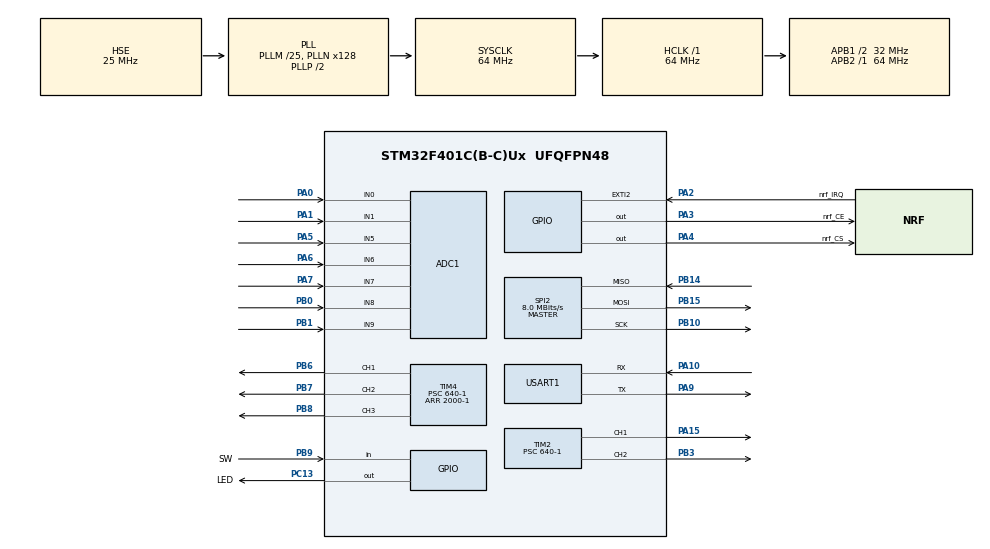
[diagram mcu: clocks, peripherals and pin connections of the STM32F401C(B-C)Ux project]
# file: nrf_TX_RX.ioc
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ADC1.Channel-2\#ChannelRegularConversion=ADC_CHANNEL_1
ADC1.Channel-3\#ChannelRegularConversion=ADC_CHANNEL_5
ADC1.Channel-4\#ChannelRegularConversion=ADC_CHANNEL_6
ADC1.Channel-5\#ChannelRegularConversion=ADC_CHANNEL_7
ADC1.Channel-6\#ChannelRegularConversion=ADC_CHANNEL_8
ADC1.Channel-7\#ChannelRegularConversion=ADC_CHANNEL_0
ADC1.Channel-8\#ChannelRegularConversion=ADC_CHANNEL_9
ADC1.ClockPrescaler=ADC_CLOCK_SYNC_PCLK_DIV8
ADC1.ContinuousConvMode=ENABLE
ADC1.DMAContinuousRequests=DISABLE
ADC1.EnableAnalogWatchDog=false
ADC1.InjNumberOfConversion=0
ADC1.NbrOfConversion=7
ADC1.NbrOfConversionFlag=1
ADC1.Rank-2\#ChannelRegularConversion=1
ADC1.Rank-3\#ChannelRegularConversion=2
ADC1.Rank-4\#ChannelRegularConversion=3
ADC1.Rank-5\#ChannelRegularConversion=4
ADC1.Rank-6\#ChannelRegularConversion=5
ADC1.Rank-7\#ChannelRegularConversion=6
ADC1.Rank-8\#ChannelRegularConversion=7
ADC1.SamplingTime-2\#ChannelRegularConversion=ADC_SAMPLETIME_15CYCLES
ADC1.SamplingTime-3\#ChannelRegularConversion=ADC_SAMPLETIME_15CYCLES
ADC1.SamplingTime-4\#ChannelRegularConversion=ADC_SAMPLETIME_15CYCLES
ADC1.SamplingTime-5\#ChannelRegularConversion=ADC_SAMPLETIME_15CYCLES
ADC1.SamplingTime-6\#ChannelRegularConversion=ADC_SAMPLETIME_15CYCLES
ADC1.SamplingTime-7\#ChannelRegularConversion=ADC_SAMPLETIME_15CYCLES
ADC1.SamplingTime-8\#ChannelRegularConversion=ADC_SAMPLETIME_15CYCLES
ADC1.ScanConvMode=ENABLE
ADC1.master=1
FREERTOS.BinarySemaphores01=semFromNrfIRQ_Pin,Dynamic,NULL
FREERTOS.Queues01=RQueue,5,uint16_t,0,Dynamic,NULL,NULL;DATAQueue,1,DATA,0,Dynamic,NULL,NULL
FREERTOS.Tasks01=defaultTask,24,128,StartDefaultTask,Default,NULL,Dynamic,NULL,NULL;tx_task,24,256,Start_tx_task,Default,NULL,Dynamic,NULL,NULL;rx_Task,24,128,Start_rx_Task,Default,NULL,Dynamic,NULL,NULL
FREERTOS.configUSE_NEWLIB_REENTRANT=1
Mcu.Family=STM32F4
Mcu.Name=STM32F401C(B-C)Ux
Mcu.Package=UFQFPN48
NVIC.ADC_IRQn=true\:5\:0\:false\:false\:true\:true\:true\:true\:true
NVIC.EXTI2_IRQn=true\:5\:0\:true\:false\:true\:false\:true\:true\:true
NVIC.PriorityGroup=NVIC_PRIORITYGROUP_4
NVIC.TIM1_UP_TIM10_IRQn=true\:15\:0\:false\:false\:true\:false\:false\:true\:true
NVIC.TimeBase=TIM1_UP_TIM10_IRQn
NVIC.TimeBaseIP=TIM10
PA0-WKUP.Signal=ADCx_IN0
PA1.Signal=ADCx_IN1
PA10.Mode=Asynchronous
PA10.Signal=USART1_RX
PA13.Mode=Serial_Wire
PA13.Signal=SYS_JTMS-SWDIO
PA14.Mode=Serial_Wire
PA14.Signal=SYS_JTCK-SWCLK
PA15.Signal=S_TIM2_CH1_ETR
PA2.GPIO_Label=nrf_IRQ
PA2.Signal=GPXTI2
PA3.GPIO_Label=nrf_CE
PA3.Signal=GPIO_Output
PA4.GPIO_Label=nrf_CS
PA4.GPIO_Speed=GPIO_SPEED_FREQ_LOW
PA4.Signal=GPIO_Output
PA5.Signal=ADCx_IN5
PA6.Signal=ADCx_IN6
PA7.Signal=ADCx_IN7
PA9.Mode=Asynchronous
PA9.Signal=USART1_TX
PB0.Signal=ADCx_IN8
PB1.Signal=ADCx_IN9
PB10.Mode=Full_Duplex_Master
PB10.Signal=SPI2_SCK
PB14.Mode=Full_Duplex_Master
PB14.Signal=SPI2_MISO
PB15.Mode=Full_Duplex_Master
PB15.Signal=SPI2_MOSI
PB3.Signal=S_TIM2_CH2
PB6.Signal=S_TIM4_CH1
PB7.Signal=S_TIM4_CH2
PB8.Signal=S_TIM4_CH3
PB9.GPIO_Label=SW
PB9.Signal=GPIO_Input
PC13-ANTI_TAMP.GPIO_Label=LED
PC13-ANTI_TAMP.Signal=GPIO_Output
PC14-OSC32_IN.Mode=LSE-External-Oscillator
PC14-OSC32_IN.Signal=RCC_OSC32_IN
PC15-OSC32_OUT.Mode=LSE-External-Oscillator
PC15-OSC32_OUT.Signal=RCC_OSC32_OUT
PH0\ -\ OSC_IN.Mode=HSE-External-Oscillator
PH0\ -\ OSC_IN.Signal=RCC_OSC_IN
PH1\ -\ OSC_OUT.Mode=HSE-External-Oscillator
PH1\ -\ OSC_OUT.Signal=RCC_OSC_OUT
ProjectManager.HeapSize=0x200
ProjectManager.StackSize=0x400
ProjectManager.TargetToolchain=STM32CubeIDE
RCC.48MHZClocksFreq_Value=32000000
RCC.AHBFreq_Value=64000000
RCC.APB1CLKDivider=RCC_HCLK_DIV2
RCC.APB1Freq_Value=32000000
RCC.APB1TimFreq_Value=64000000
RCC.APB2Freq_Value=64000000
RCC.APB2TimFreq_Value=64000000
RCC.CortexFreq_Value=64000000
RCC.HCLKFreq_Value=64000000
RCC.HSE_VALUE=25000000
RCC.HSI_VALUE=16000000
RCC.PLLM=25
RCC.PLLN=128
RCC.PLLSourceVirtual=RCC_PLLSOURCE_HSE
RCC.SYSCLKFreq_VALUE=64000000
RCC.SYSCLKSource=RCC_SYSCLKSOURCE_PLLCLK
RCC.VCOOutputFreq_Value=128000000
SH.ADCx_IN0.0=ADC1_IN0,IN0
SH.ADCx_IN1.0=ADC1_IN1,IN1
SH.ADCx_IN5.0=ADC1_IN5,IN5
SH.ADCx_IN6.0=ADC1_IN6,IN6
SH.ADCx_IN7.0=ADC1_IN7,IN7
SH.ADCx_IN8.0=ADC1_IN8,IN8
SH.ADCx_IN9.0=ADC1_IN9,IN9
SH.S_TIM2_CH1_ETR.0=TIM2_CH1,PWM Generation1 CH1
SH.S_TIM2_CH2.0=TIM2_CH2,PWM Generation2 CH2
SH.S_TIM4_CH1.0=TIM4_CH1,PWM Generation1 CH1
SH.S_TIM4_CH2.0=TIM4_CH2,PWM Generation2 CH2
SH.S_TIM4_CH3.0=TIM4_CH3,PWM Generation3 CH3
SPI2.BaudRatePrescaler=SPI_BAUDRATEPRESCALER_4
SPI2.CalculateBaudRate=8.0 MBits/s
SPI2.Direction=SPI_DIRECTION_2LINES
SPI2.Mode=SPI_MODE_MASTER
SPI2.VirtualType=VM_MASTER
TIM2.Channel-PWM\ Generation1\ CH1=TIM_CHANNEL_1
TIM2.Channel-PWM\ Generation2\ CH2=TIM_CHANNEL_2
TIM2.Channel-PWM\ Generation3\ CH3=TIM_CHANNEL_3
TIM2.Period=2000-1
TIM2.Prescaler=640-1
TIM2.Pulse-PWM\ Generation1\ CH1=1000-1
TIM4.Channel-PWM\ Generation1\ CH1=TIM_CHANNEL_1
TIM4.Channel-PWM\ Generation2\ CH2=TIM_CHANNEL_2
TIM4.Channel-PWM\ Generation3\ CH3=TIM_CHANNEL_3
TIM4.Period=2000-1
TIM4.Prescaler=640-1
USART1.VirtualMode=VM_ASYNC
VP_FREERTOS_VS_CMSIS_V2.Mode=CMSIS_V2
VP_SYS_VS_tim10.Mode=TIM10
board=custom

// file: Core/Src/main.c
/* USER CODE BEGIN Header */
/**
  ******************************************************************************
  * @file           : main.c
  * @brief          : Main program body
  ******************************************************************************
  * @attention
  *
  * Copyright (c) 2023 STMicroelectronics.
  * All rights reserved.
  *
  * This software is licensed under terms that can be found in the LICENSE file
  * in the root directory of this software component.
  * If no LICENSE file comes with this software, it is provided AS-IS.
  *
  ******************************************************************************
  */
/* USER CODE END Header */
#include "main.h"
#include "cmsis_os.h"

/* USER CODE BEGIN Includes */
#include <string.h>
#include "semphr.h"
#include "stdbool.h"

#include "nrf24L01/nrf24L01.h"

char str1[40] = {0};
uint8_t buf1[40] = {0};

/* USER CODE END Includes */

/* USER CODE BEGIN PD */

#define RX 1
#define TX 0

#define NRF_MODE TX

/* USER CODE END PD */

ADC_HandleTypeDef hadc1;

SPI_HandleTypeDef hspi2;

TIM_HandleTypeDef htim2;
TIM_HandleTypeDef htim4;

UART_HandleTypeDef huart1;

/* Definitions for defaultTask */
osThreadId_t defaultTaskHandle;
const osThreadAttr_t defaultTask_attributes = {
  .name = "defaultTask",
  .stack_size = 128 * 4,
  .priority = (osPriority_t) osPriorityNormal,
};
/* Definitions for tx_task */
osThreadId_t tx_taskHandle;
const osThreadAttr_t tx_task_attributes = {
  .name = "tx_task",
  .stack_size = 256 * 4,
  .priority = (osPriority_t) osPriorityNormal,
};
/* Definitions for rx_Task */
osThreadId_t rx_TaskHandle;
const osThreadAttr_t rx_Task_attributes = {
  .name = "rx_Task",
  .stack_size = 128 * 4,
  .priority = (osPriority_t) osPriorityNormal,
};
/* Definitions for RQueue */
osMessageQueueId_t RQueueHandle;
const osMessageQueueAttr_t RQueue_attributes = {
  .name = "RQueue"
};
/* Definitions for DATAQueue */
osMessageQueueId_t DATAQueueHandle;
const osMessageQueueAttr_t DATAQueue_attributes = {
  .name = "DATAQueue"
};
/* Definitions for semFromNrfIRQ_Pin */
osSemaphoreId_t semFromNrfIRQ_PinHandle;
const osSemaphoreAttr_t semFromNrfIRQ_Pin_attributes = {
  .name = "semFromNrfIRQ_Pin"
};

void SystemClock_Config(void);
static void MX_GPIO_Init(void);
static void MX_SPI2_Init(void);
static void MX_USART1_UART_Init(void);
static void MX_ADC1_Init(void);
static void MX_TIM2_Init(void);
static void MX_TIM4_Init(void);
void StartDefaultTask(void *argument);
void Start_tx_task(void *argument);
void Start_rx_Task(void *argument);

/* USER CODE BEGIN PFP */
void PWM_Tim_Init(uint8_t ServoNum, uint32_t DutyCycle);
void Set_Servo_Angle(uint8_t ServoNum, uint8_t angle);
void Test_Servo_Motor(void);
/* USER CODE END PFP */

/* USER CODE BEGIN 0 */

// -------------------------------------------------------------------------------------
uint16_t simpleAdcRead(void)
{
	uint16_t adc_value = 0;

	HAL_ADC_Start(&hadc1);
	HAL_ADC_PollForConversion(&hadc1, 100);
	adc_value = HAL_ADC_GetValue(&hadc1);
	HAL_ADC_Stop(&hadc1);

	return adc_value;
}
// -------------------------------------------------------------------------------------
int ADC_Get_Value(uint8_t chanel)
{
	ADC_ChannelConfTypeDef sConfig = {0};
	uint32_t adc_value = 0;
	bool error_ststus = false;

	switch (chanel)
	{
		case 0:
			sConfig.Channel = ADC_CHANNEL_0;
			break;
		case 1:
			sConfig.Channel = ADC_CHANNEL_1;
			break;

		case 5:
			sConfig.Channel = ADC_CHANNEL_5;
			break;

		case 6:
			sConfig.Channel = ADC_CHANNEL_6;
			break;

		case 7:
			sConfig.Channel = ADC_CHANNEL_7;
			break;

		case 8:
			sConfig.Channel = ADC_CHANNEL_8;
			break;

		case 9:
			sConfig.Channel = ADC_CHANNEL_9;
			break;

		default:
			error_ststus = true;
			break;
	}

	if(error_ststus != true)
	{
		sConfig.Rank = 1;
		sConfig.SamplingTime = ADC_SAMPLETIME_28CYCLES;

		if (HAL_ADC_ConfigChannel(&hadc1, &sConfig) != HAL_OK)
		{
			Error_Handler();
		}

		HAL_ADC_Start(&hadc1);
		HAL_ADC_PollForConversion(&hadc1, 100);
		adc_value = HAL_ADC_GetValue(&hadc1);
		HAL_ADC_Stop(&hadc1);

		return adc_value;
	}
	else		// Init ERROR
	{
		return -1;
	}
}

// -------------------------------------------------------------------------------------
void Test_Servo_Motor(void)
{
	for(int i = 0; i <= 180; i = i+3)
	{
		Set_Servo_Angle(1, i);
		osDelay(50);
	}
	for(int i = 180; i >= 0; i = i-3)
	{
		Set_Servo_Angle(1, i);
		osDelay(50);
	}
}
// -------------------------------------------------------------------------------------
void Set_Servo_Angle(uint8_t ServoNum, uint8_t angle)
{
	uint32_t DutyCycle = (200*angle)/180;		// convert angle into DutyCycle

	DutyCycle = DutyCycle + 45;

	PWM_Tim_Init(ServoNum, DutyCycle);
}
// -------------------------------------------------------------------------------------
void PWM_Tim_Init(uint8_t ServoNum, uint32_t DutyCycle)
{
	TIM_HandleTypeDef *htim;
	uint32_t chanel = 0;

	if((ServoNum >= 1) && (ServoNum <= 2))			// Servo motor 1 and 2 connect to Ttmer2
	{
		htim = &htim2;

		if(ServoNum == 1)
		{
			chanel = TIM_CHANNEL_1;
		}
		if(ServoNum == 2)
		{
			chanel = TIM_CHANNEL_2;
		}
	}
	if((ServoNum >= 3) && (ServoNum <= 5))			// Servo motor 3, 4 and 5 connect to Ttmer4
	{
		htim = &htim4;

		if(ServoNum == 3)
		{
			chanel = TIM_CHANNEL_1;
		}
		if(ServoNum == 4)
		{
			chanel = TIM_CHANNEL_2;
		}
		if(ServoNum == 5)
		{
			chanel = TIM_CHANNEL_3;
		}
	}

	TIM_OC_InitTypeDef sConfigOC = {0};

	sConfigOC.OCMode = TIM_OCMODE_PWM1;
	sConfigOC.Pulse = DutyCycle-1;
	sConfigOC.OCPolarity = TIM_OCPOLARITY_HIGH;
	sConfigOC.OCFastMode = TIM_OCFAST_DISABLE;

	if(HAL_TIM_PWM_Stop(htim, chanel) != HAL_OK)
	{
		Error_Handler();
	}

	if(HAL_TIM_PWM_ConfigChannel(htim, &sConfigOC, chanel) != HAL_OK)
	{
		Error_Handler();
	}

	if(HAL_TIM_PWM_Start(htim, chanel) != HAL_OK)
	{
		Error_Handler();
	}
}
// -------------------------------------------------------------------------------------

/* USER CODE END 0 */

int main(void)
{

  /* MCU Configuration--------------------------------------------------------*/

  /* Reset of all peripherals, Initializes the Flash interface and the Systick. */
  HAL_Init();

  /* Configure the system clock */
  SystemClock_Config();

  /* Initialize all configured peripherals */
  MX_GPIO_Init();
  MX_SPI2_Init();
  MX_USART1_UART_Init();
  MX_ADC1_Init();
  MX_TIM2_Init();
  MX_TIM4_Init();
  /* USER CODE BEGIN 2 */

  HAL_Delay(1000);

//#if NRF_MODE == TX
//	  NRF24_init_TX();
//#else
//	  NRF24_init_RX();
//#endif

 // testReadWriteSetingd();			// For debug

  /* USER CODE END 2 */

  /* Init scheduler */
  osKernelInitialize();

  /* Create the semaphores(s) */
  /* creation of semFromNrfIRQ_Pin */
  semFromNrfIRQ_PinHandle = osSemaphoreNew(1, 1, &semFromNrfIRQ_Pin_attributes);

  /* Create the queue(s) */
  /* creation of RQueue */
  RQueueHandle = osMessageQueueNew (5, sizeof(uint16_t), &RQueue_attributes);

  /* creation of DATAQueue */
  DATAQueueHandle = osMessageQueueNew (1, sizeof(DATA), &DATAQueue_attributes);

  /* Create the thread(s) */
  /* creation of defaultTask */
  defaultTaskHandle = osThreadNew(StartDefaultTask, NULL, &defaultTask_attributes);

  /* creation of tx_task */
  tx_taskHandle = osThreadNew(Start_tx_task, NULL, &tx_task_attributes);

  /* creation of rx_Task */
  rx_TaskHandle = osThreadNew(Start_rx_Task, NULL, &rx_Task_attributes);

  /* Start scheduler */
  osKernelStart();

  /* We should never get here as control is now taken by the scheduler */
  /* Infinite loop */
  while (1)
  {

  }
}

void SystemClock_Config(void)
{
  RCC_OscInitTypeDef RCC_OscInitStruct = {0};
  RCC_ClkInitTypeDef RCC_ClkInitStruct = {0};

  /** Configure the main internal regulator output voltage
  */
  __HAL_RCC_PWR_CLK_ENABLE();
  __HAL_PWR_VOLTAGESCALING_CONFIG(PWR_REGULATOR_VOLTAGE_SCALE2);

  /** Initializes the RCC Oscillators according to the specified parameters
  * in the RCC_OscInitTypeDef structure.
  */
  RCC_OscInitStruct.OscillatorType = RCC_OSCILLATORTYPE_HSE;
  RCC_OscInitStruct.HSEState = RCC_HSE_ON;
  RCC_OscInitStruct.PLL.PLLState = RCC_PLL_ON;
  RCC_OscInitStruct.PLL.PLLSource = RCC_PLLSOURCE_HSE;
  RCC_OscInitStruct.PLL.PLLM = 25;
  RCC_OscInitStruct.PLL.PLLN = 128;
  RCC_OscInitStruct.PLL.PLLP = RCC_PLLP_DIV2;
  RCC_OscInitStruct.PLL.PLLQ = 4;
  if (HAL_RCC_OscConfig(&RCC_OscInitStruct) != HAL_OK)
  {
    Error_Handler();
  }

  /** Initializes the CPU, AHB and APB buses clocks
  */
  RCC_ClkInitStruct.ClockType = RCC_CLOCKTYPE_HCLK|RCC_CLOCKTYPE_SYSCLK
                              |RCC_CLOCKTYPE_PCLK1|RCC_CLOCKTYPE_PCLK2;
  RCC_ClkInitStruct.SYSCLKSource = RCC_SYSCLKSOURCE_PLLCLK;
  RCC_ClkInitStruct.AHBCLKDivider = RCC_SYSCLK_DIV1;
  RCC_ClkInitStruct.APB1CLKDivider = RCC_HCLK_DIV2;
  RCC_ClkInitStruct.APB2CLKDivider = RCC_HCLK_DIV1;

  if (HAL_RCC_ClockConfig(&RCC_ClkInitStruct, FLASH_LATENCY_2) != HAL_OK)
  {
    Error_Handler();
  }
}

static void MX_ADC1_Init(void)
{

  ADC_ChannelConfTypeDef sConfig = {0};

  /** Configure the global features of the ADC (Clock, Resolution, Data Alignment and number of conversion)
  */
  hadc1.Instance = ADC1;
  hadc1.Init.ClockPrescaler = ADC_CLOCK_SYNC_PCLK_DIV8;
  hadc1.Init.Resolution = ADC_RESOLUTION_12B;
  hadc1.Init.ScanConvMode = ENABLE;
  hadc1.Init.ContinuousConvMode = ENABLE;
  hadc1.Init.DiscontinuousConvMode = DISABLE;
  hadc1.Init.ExternalTrigConvEdge = ADC_EXTERNALTRIGCONVEDGE_NONE;
  hadc1.Init.ExternalTrigConv = ADC_SOFTWARE_START;
  hadc1.Init.DataAlign = ADC_DATAALIGN_RIGHT;
  hadc1.Init.NbrOfConversion = 7;
  hadc1.Init.DMAContinuousRequests = DISABLE;
  hadc1.Init.EOCSelection = ADC_EOC_SINGLE_CONV;
  if (HAL_ADC_Init(&hadc1) != HAL_OK)
  {
    Error_Handler();
  }

  /** Configure for the selected ADC regular channel its corresponding rank in the sequencer and its sample time.
  */
  sConfig.Channel = ADC_CHANNEL_1;
  sConfig.Rank = 1;
  sConfig.SamplingTime = ADC_SAMPLETIME_15CYCLES;
  if (HAL_ADC_ConfigChannel(&hadc1, &sConfig) != HAL_OK)
  {
    Error_Handler();
  }

  /** Configure for the selected ADC regular channel its corresponding rank in the sequencer and its sample time.
  */
  sConfig.Channel = ADC_CHANNEL_5;
  sConfig.Rank = 2;
  if (HAL_ADC_ConfigChannel(&hadc1, &sConfig) != HAL_OK)
  {
    Error_Handler();
  }

  /** Configure for the selected ADC regular channel its corresponding rank in the sequencer and its sample time.
  */
  sConfig.Channel = ADC_CHANNEL_6;
  sConfig.Rank = 3;
  if (HAL_ADC_ConfigChannel(&hadc1, &sConfig) != HAL_OK)
  {
    Error_Handler();
  }

  /** Configure for the selected ADC regular channel its corresponding rank in the sequencer and its sample time.
  */
  sConfig.Channel = ADC_CHANNEL_7;
  sConfig.Rank = 4;
  if (HAL_ADC_ConfigChannel(&hadc1, &sConfig) != HAL_OK)
  {
    Error_Handler();
  }

  /** Configure for the selected ADC regular channel its corresponding rank in the sequencer and its sample time.
  */
  sConfig.Channel = ADC_CHANNEL_8;
  sConfig.Rank = 5;
  if (HAL_ADC_ConfigChannel(&hadc1, &sConfig) != HAL_OK)
  {
    Error_Handler();
  }

  /** Configure for the selected ADC regular channel its corresponding rank in the sequencer and its sample time.
  */
  sConfig.Channel = ADC_CHANNEL_0;
  sConfig.Rank = 6;
  if (HAL_ADC_ConfigChannel(&hadc1, &sConfig) != HAL_OK)
  {
    Error_Handler();
  }

  /** Configure for the selected ADC regular channel its corresponding rank in the sequencer and its sample time.
  */
  sConfig.Channel = ADC_CHANNEL_9;
  sConfig.Rank = 7;
  if (HAL_ADC_ConfigChannel(&hadc1, &sConfig) != HAL_OK)
  {
    Error_Handler();
  }

}

static void MX_SPI2_Init(void)
{

  /* SPI2 parameter configuration*/
  hspi2.Instance = SPI2;
  hspi2.Init.Mode = SPI_MODE_MASTER;
  hspi2.Init.Direction = SPI_DIRECTION_2LINES;
  hspi2.Init.DataSize = SPI_DATASIZE_8BIT;
  hspi2.Init.CLKPolarity = SPI_POLARITY_LOW;
  hspi2.Init.CLKPhase = SPI_PHASE_1EDGE;
  hspi2.Init.NSS = SPI_NSS_SOFT;
  hspi2.Init.BaudRatePrescaler = SPI_BAUDRATEPRESCALER_4;
  hspi2.Init.FirstBit = SPI_FIRSTBIT_MSB;
  hspi2.Init.TIMode = SPI_TIMODE_DISABLE;
  hspi2.Init.CRCCalculation = SPI_CRCCALCULATION_DISABLE;
  hspi2.Init.CRCPolynomial = 10;
  if (HAL_SPI_Init(&hspi2) != HAL_OK)
  {
    Error_Handler();
  }

}

static void MX_TIM2_Init(void)
{

  TIM_MasterConfigTypeDef sMasterConfig = {0};
  TIM_OC_InitTypeDef sConfigOC = {0};

  htim2.Instance = TIM2;
  htim2.Init.Prescaler = 640-1;
  htim2.Init.CounterMode = TIM_COUNTERMODE_UP;
  htim2.Init.Period = 2000-1;
  htim2.Init.ClockDivision = TIM_CLOCKDIVISION_DIV1;
  htim2.Init.AutoReloadPreload = TIM_AUTORELOAD_PRELOAD_DISABLE;
  if (HAL_TIM_PWM_Init(&htim2) != HAL_OK)
  {
    Error_Handler();
  }
  sMasterConfig.MasterOutputTrigger = TIM_TRGO_RESET;
  sMasterConfig.MasterSlaveMode = TIM_MASTERSLAVEMODE_DISABLE;
  if (HAL_TIMEx_MasterConfigSynchronization(&htim2, &sMasterConfig) != HAL_OK)
  {
    Error_Handler();
  }
  sConfigOC.OCMode = TIM_OCMODE_PWM1;
  sConfigOC.Pulse = 1000-1;
  sConfigOC.OCPolarity = TIM_OCPOLARITY_HIGH;
  sConfigOC.OCFastMode = TIM_OCFAST_DISABLE;
  if (HAL_TIM_PWM_ConfigChannel(&htim2, &sConfigOC, TIM_CHANNEL_1) != HAL_OK)
  {
    Error_Handler();
  }
  sConfigOC.Pulse = 0;
  if (HAL_TIM_PWM_ConfigChannel(&htim2, &sConfigOC, TIM_CHANNEL_2) != HAL_OK)
  {
    Error_Handler();
  }
  HAL_TIM_MspPostInit(&htim2);

}

static void MX_TIM4_Init(void)
{

  TIM_MasterConfigTypeDef sMasterConfig = {0};
  TIM_OC_InitTypeDef sConfigOC = {0};

  htim4.Instance = TIM4;
  htim4.Init.Prescaler = 640-1;
  htim4.Init.CounterMode = TIM_COUNTERMODE_UP;
  htim4.Init.Period = 2000-1;
  htim4.Init.ClockDivision = TIM_CLOCKDIVISION_DIV1;
  htim4.Init.AutoReloadPreload = TIM_AUTORELOAD_PRELOAD_DISABLE;
  if (HAL_TIM_PWM_Init(&htim4) != HAL_OK)
  {
    Error_Handler();
  }
  sMasterConfig.MasterOutputTrigger = TIM_TRGO_RESET;
  sMasterConfig.MasterSlaveMode = TIM_MASTERSLAVEMODE_DISABLE;
  if (HAL_TIMEx_MasterConfigSynchronization(&htim4, &sMasterConfig) != HAL_OK)
  {
    Error_Handler();
  }
  sConfigOC.OCMode = TIM_OCMODE_PWM1;
  sConfigOC.Pulse = 0;
  sConfigOC.OCPolarity = TIM_OCPOLARITY_HIGH;
  sConfigOC.OCFastMode = TIM_OCFAST_DISABLE;
  if (HAL_TIM_PWM_ConfigChannel(&htim4, &sConfigOC, TIM_CHANNEL_1) != HAL_OK)
  {
    Error_Handler();
  }
  if (HAL_TIM_PWM_ConfigChannel(&htim4, &sConfigOC, TIM_CHANNEL_2) != HAL_OK)
  {
    Error_Handler();
  }
  if (HAL_TIM_PWM_ConfigChannel(&htim4, &sConfigOC, TIM_CHANNEL_3) != HAL_OK)
  {
    Error_Handler();
  }
  HAL_TIM_MspPostInit(&htim4);

}

static void MX_USART1_UART_Init(void)
{

  huart1.Instance = USART1;
  huart1.Init.BaudRate = 115200;
  huart1.Init.WordLength = UART_WORDLENGTH_8B;
  huart1.Init.StopBits = UART_STOPBITS_1;
  huart1.Init.Parity = UART_PARITY_NONE;
  huart1.Init.Mode = UART_MODE_TX_RX;
  huart1.Init.HwFlowCtl = UART_HWCONTROL_NONE;
  huart1.Init.OverSampling = UART_OVERSAMPLING_16;
  if (HAL_UART_Init(&huart1) != HAL_OK)
  {
    Error_Handler();
  }

}

static void MX_GPIO_Init(void)
{
  GPIO_InitTypeDef GPIO_InitStruct = {0};

  /* GPIO Ports Clock Enable */
  __HAL_RCC_GPIOC_CLK_ENABLE();
  __HAL_RCC_GPIOH_CLK_ENABLE();
  __HAL_RCC_GPIOA_CLK_ENABLE();
  __HAL_RCC_GPIOB_CLK_ENABLE();

  /*Configure GPIO pin Output Level */
  HAL_GPIO_WritePin(LED_GPIO_Port, LED_Pin, GPIO_PIN_RESET);

  /*Configure GPIO pin Output Level */
  HAL_GPIO_WritePin(GPIOA, nrf_CE_Pin|nrf_CS_Pin, GPIO_PIN_RESET);

  /*Configure GPIO pin : LED_Pin */
  GPIO_InitStruct.Pin = LED_Pin;
  GPIO_InitStruct.Mode = GPIO_MODE_OUTPUT_PP;
  GPIO_InitStruct.Pull = GPIO_NOPULL;
  GPIO_InitStruct.Speed = GPIO_SPEED_FREQ_LOW;
  HAL_GPIO_Init(LED_GPIO_Port, &GPIO_InitStruct);

  /*Configure GPIO pin : nrf_IRQ_Pin */
  GPIO_InitStruct.Pin = nrf_IRQ_Pin;
  GPIO_InitStruct.Mode = GPIO_MODE_IT_RISING;
  GPIO_InitStruct.Pull = GPIO_NOPULL;
  HAL_GPIO_Init(nrf_IRQ_GPIO_Port, &GPIO_InitStruct);

  /*Configure GPIO pins : nrf_CE_Pin nrf_CS_Pin */
  GPIO_InitStruct.Pin = nrf_CE_Pin|nrf_CS_Pin;
  GPIO_InitStruct.Mode = GPIO_MODE_OUTPUT_PP;
  GPIO_InitStruct.Pull = GPIO_NOPULL;
  GPIO_InitStruct.Speed = GPIO_SPEED_FREQ_LOW;
  HAL_GPIO_Init(GPIOA, &GPIO_InitStruct);

  /*Configure GPIO pin : SW_Pin */
  GPIO_InitStruct.Pin = SW_Pin;
  GPIO_InitStruct.Mode = GPIO_MODE_INPUT;
  GPIO_InitStruct.Pull = GPIO_NOPULL;
  HAL_GPIO_Init(SW_GPIO_Port, &GPIO_InitStruct);

  /* EXTI interrupt init*/
  HAL_NVIC_SetPriority(EXTI2_IRQn, 5, 0);
  HAL_NVIC_EnableIRQ(EXTI2_IRQn);

}

void StartDefaultTask(void *argument)
{
  /* USER CODE BEGIN 5 */
  /* Infinite loop */

  for(;;)
  {

	  osDelay(10);

  }
  /* USER CODE END 5 */
}

void Start_tx_task(void *argument)
{
  /* USER CODE BEGIN Start_tx_task */
  /* Infinite loop */
#if NRF_MODE == RX
	uint16_t data = 0;
	DATA DATA_t;

	NRF24_init_RX();
#endif

	for(;;)
	{
#if NRF_MODE == RX
	NRF24L01_Receive_Real_Data();

	if(xQueueReceive(DATAQueueHandle, &DATA_t, 0))
	{
		// convert R data into angle
		DATA_t.R1 = DATA_t.R1 / 23;
		DATA_t.R2 = DATA_t.R2 / 23;
		DATA_t.R3 = DATA_t.R3 / 23;
		DATA_t.R4 = DATA_t.R4 / 23;
		DATA_t.R5 = DATA_t.R5 / 23;

		// set angle for all servo motors
		Set_Servo_Angle(1, DATA_t.R1);
		Set_Servo_Angle(2, 180 - DATA_t.R2);
		Set_Servo_Angle(3, 180 - DATA_t.R3);
		Set_Servo_Angle(4, DATA_t.R4);
		Set_Servo_Angle(5, 180 - DATA_t.R5);
	}
	osDelay(10);

#endif
		osDelay(1);
	}
  /* USER CODE END Start_tx_task */
}

void Start_rx_Task(void *argument)
{
  /* USER CODE BEGIN Start_rx_Task */
  /* Infinite loop */

#if NRF_MODE == TX
	uint16_t adc_values[7] = {0};
	NRF24_init_TX();
#endif

	for(;;)
	{
#if NRF_MODE == TX
		// Resistors
		adc_values[0] = ADC_Get_Value(1);
		adc_values[1] = ADC_Get_Value(5);
		adc_values[2] = ADC_Get_Value(6);
		adc_values[3] = ADC_Get_Value(7);
		adc_values[4] = ADC_Get_Value(8);

		// Send data into queue
		uint8_t adc_data[20] = {0};
		memcpy(&adc_data[0], &adc_values[0], sizeof(uint16_t));
		memcpy(&adc_data[2], &adc_values[1], sizeof(uint16_t));
		memcpy(&adc_data[4], &adc_values[2], sizeof(uint16_t));
		memcpy(&adc_data[6], &adc_values[3], sizeof(uint16_t));
		memcpy(&adc_data[8], &adc_values[4], sizeof(uint16_t));

		NRF24L01_Transmit_Real_Data(adc_data);
#endif

		osDelay(10);
	}
  /* USER CODE END Start_rx_Task */
}

void HAL_TIM_PeriodElapsedCallback(TIM_HandleTypeDef *htim)
{
  if (htim->Instance == TIM10) {
    HAL_IncTick();
  }
}

void Error_Handler(void)
{
  __disable_irq();
  while (1)
  {
  }
}
